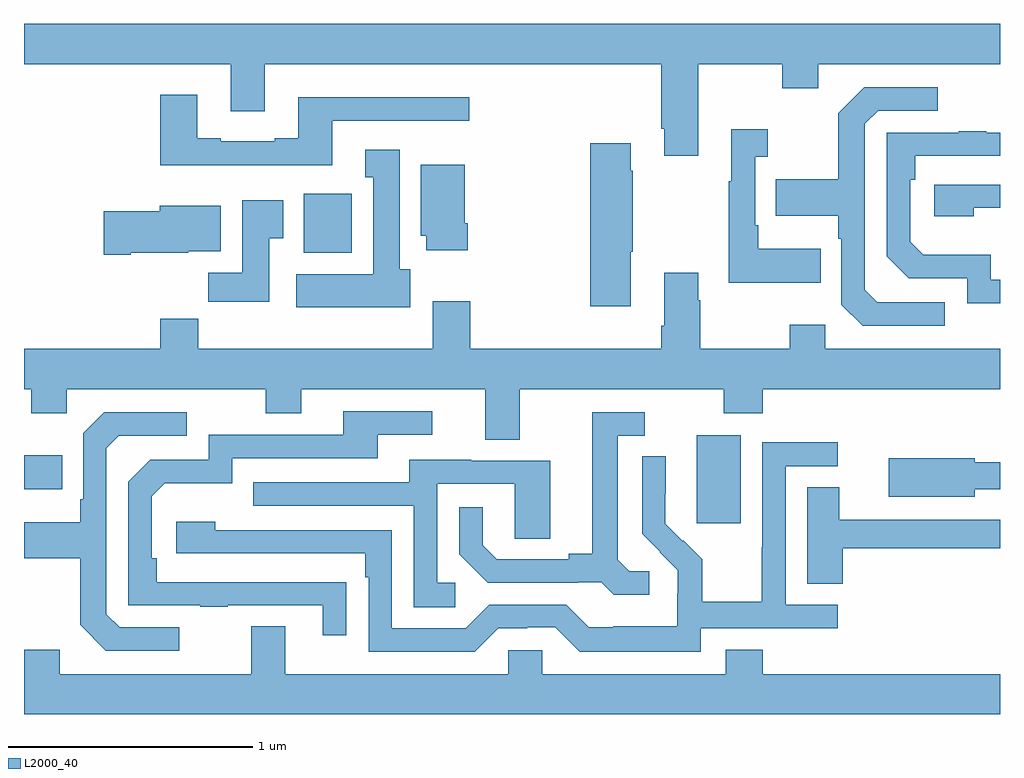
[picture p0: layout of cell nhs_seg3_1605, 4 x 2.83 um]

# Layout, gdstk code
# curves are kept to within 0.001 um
import gdstk
lib = gdstk.Library(unit=1e-6, precision=1e-09)
def R(c, l, rs):  # rectangles x0, y0, x1, y1
    for r in rs: c.add(gdstk.rectangle(r[:2], r[2:], *l))
def P(c, l, *ps):  # polygons
    for p in ps: c.add(gdstk.Polygon(p, *l))
L2000_40 = (2000, 40)

nhs_seg3_1605 = lib.new_cell('nhs_seg3_1605')
R(nhs_seg3_1605, L2000_40, [(195.758,733.665,195.937,734.026), (193,733.805,193.157,733.945), (194.147,734.774,194.344,735.016)])
P(nhs_seg3_1605, L2000_40, [(195.763,735.548),(196.108,735.548),(196.108,735.449),(196.255,735.449),(196.255,735.548),(197,735.548),(197,735.712),(193,735.712),(193,735.548),(193.847,735.548),(193.847,735.354),(193.987,735.354),(193.987,735.548),(195.611,735.548),(195.611,735.283),(195.623,735.283),(195.623,735.171),(195.763,735.171)],
  [(196.774,734.571),(196.497,734.571),(196.446,734.622),(196.446,735.303),(196.5,735.357),(196.744,735.357),(196.744,735.453),(196.443,735.453),(196.338,735.347),(196.338,735.075),(196.081,735.075),(196.081,734.927),(196.338,734.927),(196.338,734.831),(196.35,734.831),(196.35,734.562),(196.437,734.475),(196.774,734.475)],
  [(194.263,735.315),(194.824,735.315),(194.824,735.412),(194.123,735.412),(194.123,735.244),(194.027,735.244),(194.027,735.231),(193.807,735.231),(193.807,735.244),(193.711,735.244),(193.711,735.421),(193.559,735.421),(193.559,735.134),(194.263,735.134)],
  [(196.265,734.791),(196.009,734.791),(196.009,734.887),(195.996,734.887),(195.996,735.167),(196.048,735.167),(196.048,735.28),(195.899,735.28),(195.899,735.067),(195.888,735.067),(195.888,734.651),(196.265,734.651)],
  [(197,734.664),(196.962,734.664),(196.962,734.767),(196.685,734.767),(196.632,734.82),(196.632,735.074),(196.652,735.074),(196.652,735.171),(197,735.171),(197,735.267),(196.943,735.267),(196.943,735.272),(196.831,735.272),(196.831,735.267),(196.536,735.267),(196.536,734.76),(196.626,734.67),(196.866,734.67),(196.866,734.568),(197,734.568)],
  [(195.487,734.779),(195.495,734.779),(195.495,735.11),(195.487,735.11),(195.487,735.223),(195.32,735.223),(195.32,734.556),(195.487,734.556)],
  [(194.584,734.706),(194.539,734.706),(194.539,735.196),(194.399,735.196),(194.399,735.083),(194.432,735.083),(194.432,734.686),(194.115,734.686),(194.115,734.552),(194.584,734.552)],
  [(194.819,734.896),(194.806,734.896),(194.806,735.136),(194.627,735.136),(194.627,734.844),(194.648,734.844),(194.648,734.784),(194.819,734.784)],
  [(196.892,734.958),(197,734.958),(197,735.054),(196.731,735.054),(196.731,734.924),(196.892,734.924)],
  [(194.005,734.833),(194.062,734.833),(194.062,734.989),(193.895,734.989),(193.895,734.692),(193.756,734.692),(193.756,734.574),(194.005,734.574)],
  [(193.438,734.774),(193.674,734.774),(193.674,734.78),(193.807,734.78),(193.807,734.968),(193.556,734.968),(193.556,734.945),(193.326,734.945),(193.326,734.767),(193.438,734.767)],
  [(195.031,734.216),(195.868,734.216),(195.868,734.117),(196.028,734.117),(196.028,734.216),(197,734.216),(197,734.38),(196.284,734.38),(196.284,734.479),(196.138,734.479),(196.138,734.38),(195.771,734.38),(195.771,734.579),(195.763,734.579),(195.763,734.692),(195.623,734.692),(195.623,734.476),(195.611,734.476),(195.611,734.38),(194.828,734.38),(194.828,734.575),(194.675,734.575),(194.675,734.38),(193.715,734.38),(193.715,734.504),(193.559,734.504),(193.559,734.38),(193,734.38),(193,734.216),(193.03,734.216),(193.03,734.117),(193.176,734.117),(193.176,734.216),(193.99,734.216),(193.99,734.117),(194.137,734.117),(194.137,734.216),(194.891,734.216),(194.891,734.008),(195.031,734.008)],
  [(194.321,733.424),(193.544,733.425),(193.544,733.522),(193.524,733.522),(193.524,733.776),(193.577,733.829),(193.854,733.829),(193.854,733.932),(194.449,733.932),(194.449,734.028),(194.674,734.028),(194.674,734.124),(194.309,734.124),(194.309,734.028),(193.758,734.028),(193.758,733.926),(193.518,733.926),(193.428,733.836),(193.428,733.329),(193.723,733.329),(193.723,733.324),(193.835,733.324),(193.835,733.329),(194.225,733.329),(194.225,733.206),(194.321,733.206)],
  [(195.562,733.47),(195.48,733.47),(195.433,733.517),(195.433,734.025),(195.544,734.025),(195.544,734.121),(195.329,734.121),(195.329,733.541),(195.233,733.541),(195.233,733.518),(194.938,733.518),(194.881,733.575),(194.881,733.732),(194.784,733.732),(194.784,733.538),(194.9,733.422),(195.272,733.422),(195.272,733.425),(195.366,733.425),(195.418,733.373),(195.562,733.373)],
  [(193.636,733.239),(193.392,733.239),(193.338,733.293),(193.338,733.974),(193.389,734.025),(193.666,734.025),(193.666,734.121),(193.329,734.121),(193.242,734.034),(193.242,733.765),(193.23,733.765),(193.23,733.669),(193,733.669),(193,733.522),(193.23,733.522),(193.23,733.249),(193.335,733.143),(193.636,733.143)],
  [(195.774,733.236),(196.336,733.236),(196.336,733.332),(196.122,733.332),(196.122,733.899),(196.336,733.899),(196.336,733.998),(196.026,733.998),(196.026,733.568),(196.024,733.568),(196.024,733.345),(195.779,733.345),(195.779,733.519),(195.702,733.596),(195.699,733.593),(195.629,733.664),(195.63,733.94),(195.534,733.94),(195.534,733.622),(195.68,733.474),(195.68,733.377),(195.678,733.377),(195.678,733.243),(195.415,733.243),(195.415,733.239),(195.315,733.239),(195.222,733.332),(194.907,733.332),(194.811,733.236),(194.508,733.236),(194.508,733.638),(193.784,733.638),(193.784,733.672),(193.623,733.672),(193.623,733.542),(194.399,733.542),(194.399,733.445),(194.412,733.445),(194.412,733.14),(194.847,733.14),(194.943,733.236),(195.062,733.236),(195.062,733.239),(195.177,733.239),(195.277,733.139),(195.774,733.139)],
  [(196.897,733.806),(197,733.806),(197,733.915),(196.897,733.915),(196.897,733.933),(196.545,733.933),(196.545,733.775),(196.897,733.775)],
  [(194.767,733.422),(194.694,733.422),(194.694,733.827),(195.012,733.827),(195.012,733.603),(195.157,733.603),(195.157,733.923),(194.833,733.923),(194.833,733.927),(194.579,733.927),(194.579,733.833),(193.939,733.833),(193.939,733.737),(194.598,733.737),(194.598,733.321),(194.767,733.321)],
  [(196.355,733.564),(197,733.564),(197,733.68),(196.342,733.68),(196.342,733.814),(196.211,733.814),(196.211,733.417),(196.355,733.417)],
  [(197,733.048),(196.028,733.048),(196.028,733.147),(195.875,733.147),(195.875,733.048),(195.123,733.048),(195.123,733.146),(194.985,733.146),(194.985,733.048),(194.071,733.048),(194.071,733.243),(193.931,733.243),(193.931,733.048),(193.147,733.048),(193.147,733.147),(193,733.147),(193,732.884),(197,732.884)])

lib.write_gds('nhs_seg3_1605.gds')
